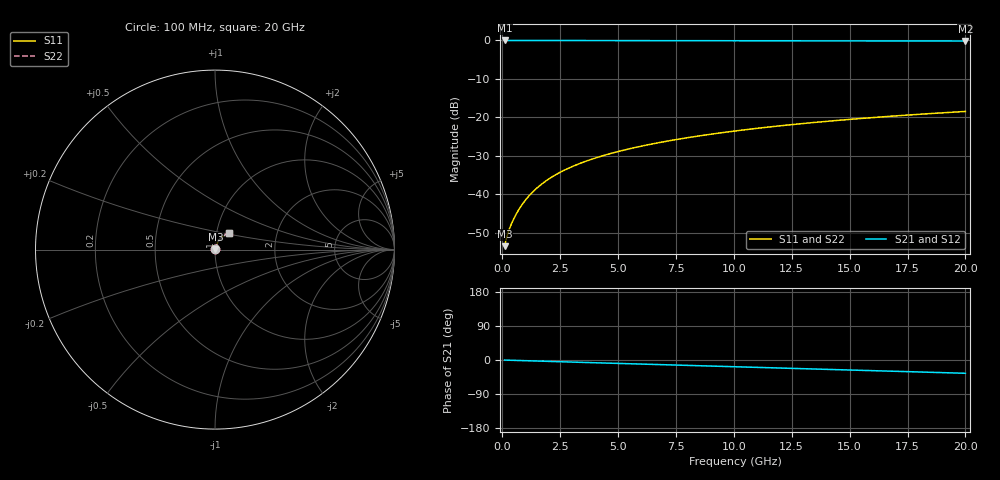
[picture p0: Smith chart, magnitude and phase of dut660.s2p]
! Touchstone file exported from HFSS 2026.1.0
!  File:  C:/ffzhzh/LocalFiles/Ansys_Project_Files/temp_train_BSMRDL_660_1783017144_4048.aedt
!  Generated:  02:33:48 AM Jul  3, 2026
!  Design:  BSMRDL
!  Project:  temp_train_BSMRDL_660_1783017144_4048
! Variables:
!  h_bsmrdl = 5.59um
!  h_ox = 20um
!  h_rdl = 5um
!  h_sub = 80um
!  h_tmrdl = 5um
!  h_tsv = 80um
!  h_via = 3um
!  l_bsmrdl = 607.42um
!  l_sub = 1007.42um
!  l_tmrdl = 200um
!  m_sub = 200um
!  pitch = 34.73um
!  r_tsv = 6um
!  s_tmrdl = 10um
!  w_bsmrdl = 24.98um
!  w_sub = 500um
!  w_tmrdl = 12um
!  x_tsv_center1 = 206um
!  x_tsv_center2 = 838.4um
!  x_tsv_center3 = 1050.4um
!  x_tsv_center4 = 1682.8um
!  x_tsv_center5 = 1894.8um
!  x_tsv_center6 = 2527.2um
# GHz S MA R 50.000000
! Terminal data exported
! Port[1] = BSM_RDL1_1_T1
! Port[2] = BSM_RDL1_1_T2
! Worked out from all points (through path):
!   200 points, 100 MHz to 20 GHz, reference 50 ohm
!   highest |S21| = -0.02 dB at 100 MHz (marker M1); lowest = -0.2 dB at 20 GHz (marker M2)
!   group delay of S21, straight-line fit = 4.85 ps
!   lowest |S11| = -53.5 dB at 100 MHz (marker M3), VSWR 1.00, Z = 50.2 + j0.11 ohm
!   |S11| at or under -10 dB: start of sweep to end of sweep
!   |S22| runs from -53.5 to -18.5 dB; largest |S21 - S12| = 3.5e-15
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0.1  0.002107 31.2  0.9982 -0.2  0.9982 -0.2  0.002107 31.2
! Gamma 0 0 0 0
! Port Impedance 50 0 50 0
0.2  0.002828 43.4  0.998 -0.4  0.998 -0.4  0.002828 43.4
0.3  0.003491 50.3  0.9978 -0.6  0.9978 -0.6  0.003491 50.3
0.4  0.004143 55.4  0.9977 -0.8  0.9977 -0.8  0.004143 55.4
0.5  0.00481 59.4  0.9976 -0.9  0.9976 -0.9  0.00481 59.4
0.6  0.005497 62.5  0.9975 -1.1  0.9975 -1.1  0.005497 62.5
0.8  0.006916 66.8  0.9974 -1.5  0.9974 -1.5  0.006916 66.8
1  0.008371 69.5  0.9973 -1.9  0.9973 -1.9  0.008371 69.5
1.2  0.009842 71.2  0.9972 -2.2  0.9972 -2.2  0.009842 71.2
1.4  0.01132 72.3  0.997 -2.6  0.997 -2.6  0.01132 72.3
1.7  0.01352 73.3  0.9967 -3.1  0.9967 -3.1  0.01352 73.3
2.2  0.01713 73.8  0.9962 -4.0  0.9962 -4.0  0.01713 73.8
2.8  0.02134 73.6  0.9956 -5.1  0.9956 -5.1  0.02134 73.6
3.5  0.0261 73.0  0.9948 -6.4  0.9948 -6.4  0.0261 73.0
4.2  0.03071 72.2  0.9941 -7.6  0.9941 -7.6  0.03071 72.2
5  0.03584 71.3  0.9933 -9.0  0.9933 -9.0  0.03584 71.3
6.8  0.04702 69.0  0.9916 -12.2  0.9916 -12.2  0.04702 69.0
8.3  0.05606 67.0  0.9904 -14.8  0.9904 -14.8  0.05606 66.9
10.1  0.06664 64.4  0.9888 -17.9  0.9888 -17.9  0.06664 64.4
13.4  0.08526 59.5  0.9861 -23.7  0.9861 -23.7  0.08526 59.5
16.7  0.1028 54.4  0.9833 -29.4  0.9833 -29.4  0.1028 54.4
20  0.1191 49.2  0.9805 -35.0  0.9805 -35.0  0.1191 49.2
